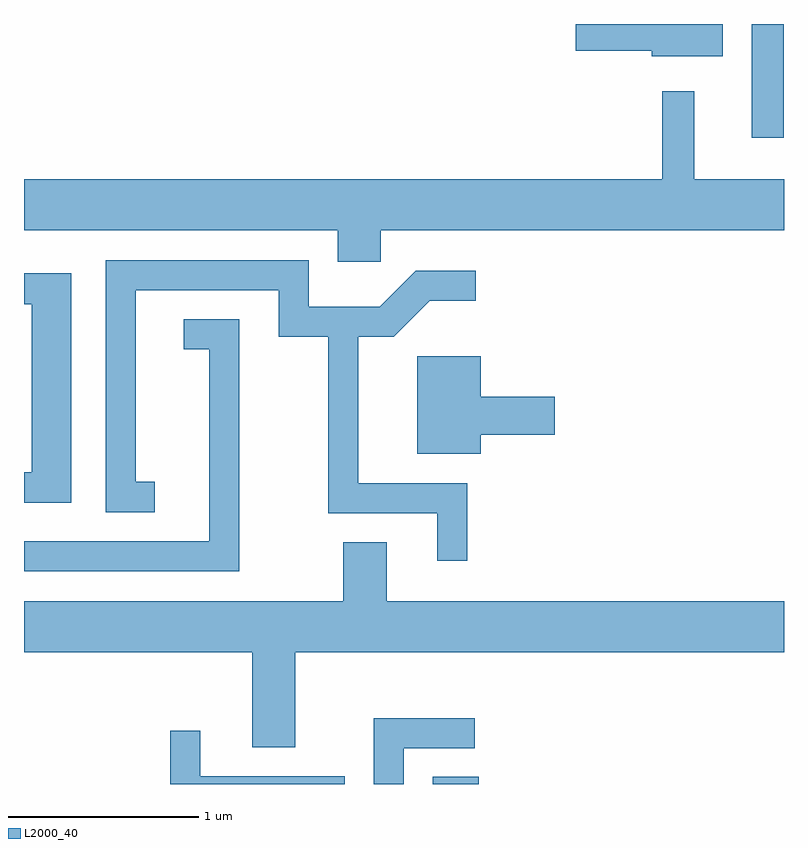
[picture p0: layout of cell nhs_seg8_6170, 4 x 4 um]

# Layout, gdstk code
import gdstk
lib = gdstk.Library(unit=1e-6, precision=1e-09)
def R(c, l, rs):  # rectangles x0, y0, x1, y1
    for r in rs: c.add(gdstk.rectangle(r[:2], r[2:], *l))
def P(c, l, *ps):  # polygons
    for p in ps: c.add(gdstk.Polygon(p, *l))
L2000_40 = (2000, 40)

nhs_seg8_6170 = lib.new_cell('nhs_seg8_6170')
R(nhs_seg8_6170, L2000_40, [(371.761,1882.342,372.004,1882.379), (373.441,1885.743,373.609,1886.342)])
P(nhs_seg8_6170, L2000_40, [(373.289,1886.342),(372.516,1886.342),(372.516,1886.201),(372.916,1886.201),(372.916,1886.171),(373.289,1886.171)],
  [(371.489,1885.256),(373.611,1885.256),(373.611,1885.524),(373.139,1885.524),(373.139,1885.988),(372.971,1885.988),(372.971,1885.524),(369.611,1885.524),(369.611,1885.256),(371.261,1885.256),(371.261,1885.091),(371.489,1885.091)],
  [(371.944,1883.924),(371.369,1883.924),(371.369,1884.696),(371.557,1884.696),(371.747,1884.886),(371.988,1884.886),(371.988,1885.044),(371.674,1885.044),(371.484,1884.854),(371.109,1884.854),(371.109,1885.099),(370.041,1885.099),(370.041,1883.771),(370.298,1883.771),(370.298,1883.934),(370.199,1883.934),(370.199,1884.941),(370.951,1884.941),(370.951,1884.696),(371.211,1884.696),(371.211,1883.766),(371.786,1883.766),(371.786,1883.518),(371.944,1883.518)],
  [(369.859,1885.029),(369.611,1885.029),(369.611,1884.866),(369.651,1884.866),(369.651,1883.984),(369.611,1883.984),(369.611,1883.821),(369.859,1883.821)],
  [(370.744,1884.789),(370.453,1884.789),(370.453,1884.631),(370.586,1884.631),(370.586,1883.619),(369.611,1883.619),(369.611,1883.461),(370.744,1883.461)],
  [(372.014,1884.181),(372.404,1884.181),(372.404,1884.379),(372.014,1884.379),(372.014,1884.594),(371.681,1884.594),(371.681,1884.081),(372.014,1884.081)],
  [(371.039,1883.036),(373.611,1883.036),(373.611,1883.304),(371.519,1883.304),(371.519,1883.614),(371.291,1883.614),(371.291,1883.304),(369.611,1883.304),(369.611,1883.036),(370.811,1883.036),(370.811,1882.536),(371.039,1882.536)],
  [(371.609,1882.531),(371.983,1882.531),(371.983,1882.689),(371.451,1882.689),(371.451,1882.342),(371.609,1882.342)],
  [(371.299,1882.384),(370.539,1882.384),(370.539,1882.623),(370.381,1882.623),(370.381,1882.342),(371.299,1882.342)])

lib.write_gds('nhs_seg8_6170.gds')
